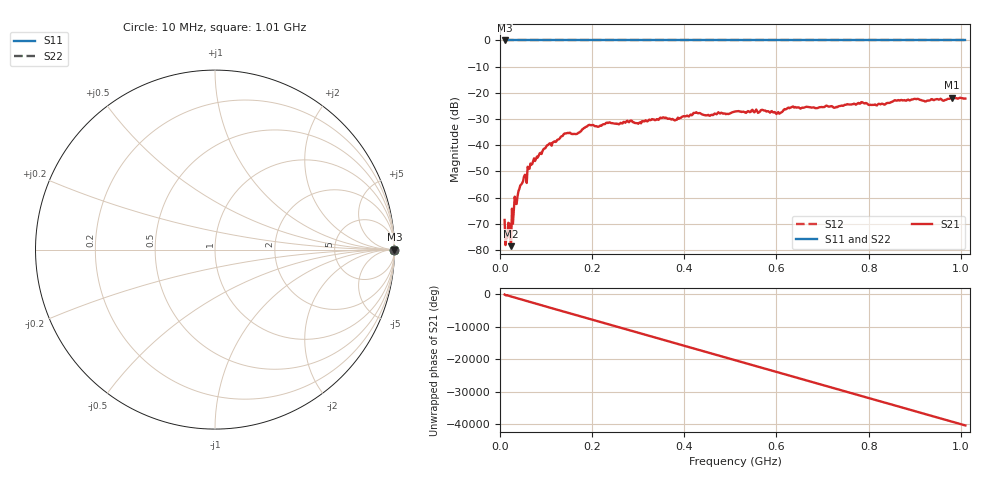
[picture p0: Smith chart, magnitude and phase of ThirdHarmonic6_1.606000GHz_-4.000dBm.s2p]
! 8/16/2025 7:09:11 PM
! C:\ANRITSUVNA\TEMP\TEMP.S2P
! CHANNEL.1
! TR.MEASUREMENT
! RAW.DATA
! RF.CORRECTION.OFF
! AVERAGING.OFF
! IF.BANDWIDTH: 5KHZ
! SWEEPTYPE:  FREQ.SWEEP(Linear)
! Reference Plane Port Info
! PORT:  PORT1  PORT2
! DISTANCE:  0  m  0  m
! TIME:  0  s  0  s
! PHASE.OFFSET:  0  deg.  0  deg.
! LOSS:  0  dB  0  dB
! REF.LOSS:  0  dB  0  dB
! REF.FREQ:  0  Hz  0  Hz
! Power Info
! POWER:  -20  dBm  -20  dBm
! EFF.POWER:  -20  dBm  -20  dBm
! SOURCE.ATTEN:  0  dB  0  dB
! TEST.ATTEN:  0  dB  0  dB
# GHZ S RI R 50.0
! FREQ.GHZ  S11RE  S11IM  S21RE  S21IM  S12RE  S12IM  S22RE  S22IM
!; PortSelection: Port_12
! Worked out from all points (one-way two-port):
!   501 points, 10 MHz to 1.01 GHz, reference 50 ohm
!   highest |S21| = -21.79 dB at 980 MHz (marker M1); lowest = -78.6 dB at 24 MHz (marker M2)
!   lowest |S11| = 0.0 dB at 10 MHz (marker M3)
!   |S11| at or under -10 dB: nowhere
!   |S22| runs from 0.0 to 0.0 dB; largest |S21 - S12| = 1.1
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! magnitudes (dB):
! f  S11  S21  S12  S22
! 10 MHz  0.0  -68.6  0.0  0.0
! 20 MHz  0.0  -69.9  0.0  0.0
! 22 MHz  0.0  -74.9  0.0  0.0
! 24 MHz  0.0  -78.6  0.0  0.0
! 26 MHz  0.0  -64.3  0.0  0.0
! 30 MHz  0.0  -65.0  0.0  0.0
! 42 MHz  0.0  -56.7  0.0  0.0
! 70 MHz  0.0  -47.2  0.0  0.0
! 106 MHz  0.0  -39.6  0.0  0.0
! 142 MHz  0.0  -35.5  0.0  0.0
! 178 MHz  0.0  -34.0  0.0  0.0
! 196 MHz  0.0  -32.3  0.0  0.0
! 344 MHz  0.0  -30.3  0.0  0.0
! 380 MHz  0.0  -30.5  0.0  0.0
! 424 MHz  0.0  -27.6  0.0  0.0
! 510 MHz  0.0  -27.1  0.0  0.0
! 604 MHz  0.0  -27.4  0.0  0.0
! 632 MHz  0.0  -25.5  0.0  0.0
! 678 MHz  0.0  -25.6  0.0  0.0
! 844 MHz  0.0  -23.9  0.0  0.0
! 980 MHz  0.0  -21.8  0.0  0.0
! 1.01 GHz  0.0  -22.2  0.0  0.0
